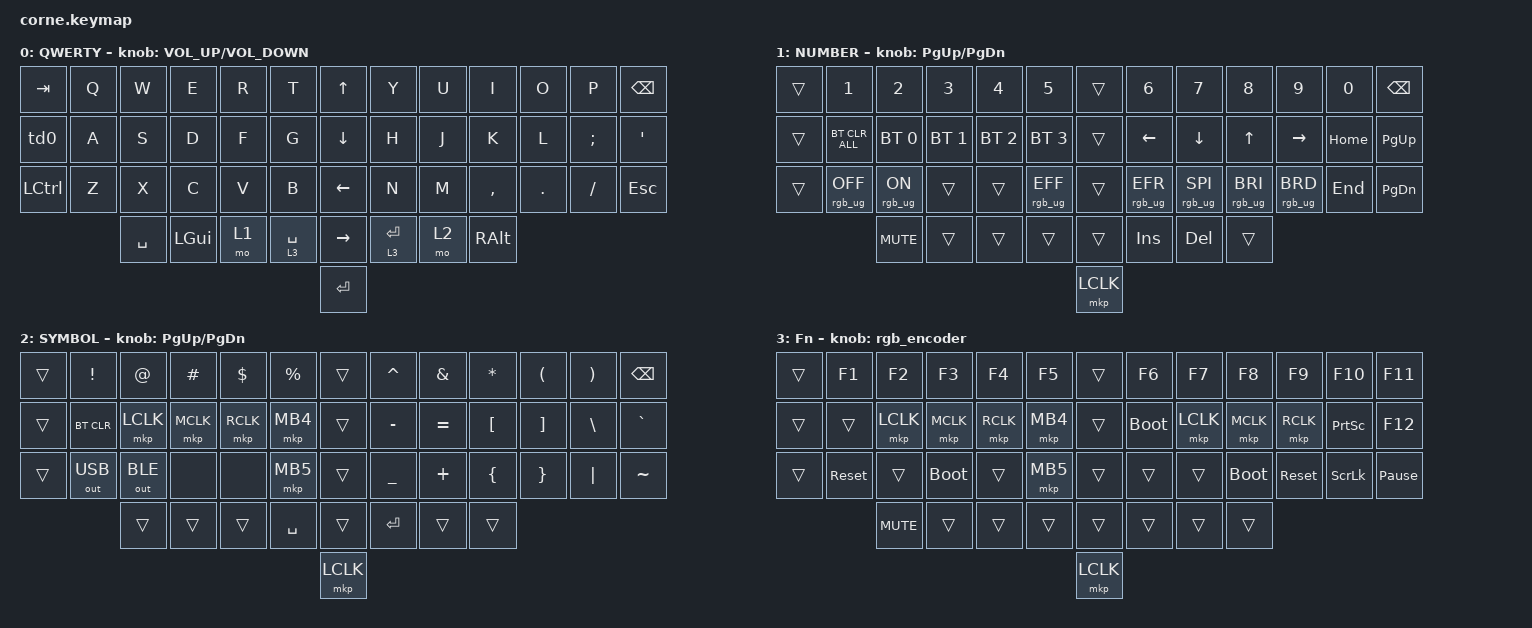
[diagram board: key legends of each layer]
#include <behaviors.dtsi>
#include <dt-bindings/zmk/bt.h>
#include <dt-bindings/zmk/keys.h>
#include <dt-bindings/zmk/mouse.h>
#include <dt-bindings/zmk/outputs.h>
#include <dt-bindings/zmk/rgb.h>

/ {
    behaviors {
        td0: td0 {
            compatible = "zmk,behavior-tap-dance";
            #binding-cells = <0>;
            bindings = <&kp LEFT_SHIFT>, <&kp CAPS>;
        };
    };

    rgb_encoder: rgb_encoder {
        compatible = "zmk,behavior-sensor-rotate";
        #sensor-binding-cells = <0>;
        bindings = <&rgb_ug RGB_BRI>, <&rgb_ug RGB_BRD>;
    };

    keymap {
        compatible = "zmk,keymap";

        default_layer {
            display-name = "QWERTY";

            // --------------------------------------------------------------------------------
            // |  TAB |  Q  |  W  |  E  |  R  |  T  |                ↑    |  Y  |  U   |  I  |  O  |  P  | BKSP |      &kp UP_ARROW 
            // | SHIFT |  A  |  S  |  D  |  F  |  G  |               ↓    |  H  |  J   |  K  |  L  |  ;  |  '   | 
            // | CTRL |  Z  |  X  |  C  |  V  |  B  |                ←    |  N  |  M   |  ,  |  .  |  /  | ESC  |
            //                    | GUI | LWR | SPC |                →    | ENT | RSE  | ALT |
            //                                                      enter

            bindings = <
&kp TAB    &kp Q  &kp W      &kp E     &kp R  &kp T          &kp UP_ARROW     &kp Y        &kp U  &kp I      &kp O    &kp P     &kp BSPC
&td0       &kp A  &kp S      &kp D     &kp F  &kp G          &kp DOWN_ARROW   &kp H        &kp J  &kp K      &kp L    &kp SEMI  &kp SQT
&kp LCTRL  &kp Z  &kp X      &kp C     &kp V  &kp B          &kp LEFT_ARROW   &kp N        &kp M  &kp COMMA  &kp DOT  &kp FSLH  &kp ESC
                  &kp SPACE  &kp LGUI  &mo 1  &lt 3 SPACE    &kp RIGHT_ARROW  &lt 3 ENTER  &mo 2  &kp RALT
                                                             &kp ENTER
            >;

            sensor-bindings = <&inc_dec_kp C_VOLUME_UP C_VOLUME_DOWN>;
        };

        lower_layer {
            display-name = "NUMBER";

            // -----------------------------------------------------------------------------------------
            // |  TAB |  1  |  2  |  3  |  4  |  5  |   |  6  |  7  |  8  |  9  |  0  | BKSP |
            // | BTCLR| BT1 | BT2 | BT3 | BT4 | BT5 |   | LFT | DWN |  UP | RGT |     |      |
            // | SHFT |     |     |     |     |     |   |     |     |     |     |     |      |
            //                    | GUI |     | SPC |   | ENT |     | ALT |

            bindings = <
&trans  &kp N1           &kp N2          &kp N3        &kp N4        &kp N5             &trans     &kp N6           &kp N7           &kp N8           &kp N9           &kp N0    &kp BSPC
&trans  &bt BT_CLR_ALL   &bt BT_SEL 0    &bt BT_SEL 1  &bt BT_SEL 2  &bt BT_SEL 3       &trans     &kp LEFT         &kp DOWN         &kp UP           &kp RIGHT        &kp HOME  &kp PG_UP
&trans  &rgb_ug RGB_OFF  &rgb_ug RGB_ON  &trans        &trans        &rgb_ug RGB_EFF    &trans     &rgb_ug RGB_EFR  &rgb_ug RGB_SPI  &rgb_ug RGB_BRI  &rgb_ug RGB_BRD  &kp END   &kp PG_DN
                         &kp C_MUTE      &trans        &trans        &trans             &trans     &kp INS          &kp DEL          &trans
                                                                                        &mkp LCLK
            >;

            sensor-bindings = <&inc_dec_kp PG_UP PG_DN>;
        };

        raise_layer {
            display-name = "SYMBOL";

            // -----------------------------------------------------------------------------------------
            // |  TAB |  !  |  @  |  #  |  $  |  %  |   |  ^  |  &  |  *  |  (  |  )  | BKSP |
            // | CTRL |     |     |     |     |     |   |  -  |  =  |  [  |  ]  |  \  |  `   |
            // | SHFT |     |     |     |     |     |   |  _  |  +  |  {  |  }  | "|" |  ~   |
            //                    | GUI |     | SPC |   | ENT |     | ALT |

            bindings = <
&trans  &kp EXCL      &kp AT        &kp HASH   &kp DLLR   &kp PRCNT    &trans     &kp CARET  &kp AMPS   &kp ASTRK  &kp LPAR  &kp RPAR  &kp BSPC
&trans  &bt BT_CLR    &mkp LCLK     &mkp MCLK  &mkp RCLK  &mkp MB4     &trans     &kp MINUS  &kp EQUAL  &kp LBKT   &kp RBKT  &kp BSLH  &kp GRAVE
&trans  &out OUT_USB  &out OUT_BLE  &none      &none      &mkp MB5     &trans     &kp UNDER  &kp PLUS   &kp LBRC   &kp RBRC  &kp PIPE  &kp TILDE
                      &trans        &trans     &trans     &kp SPACE    &trans     &kp RET    &trans     &trans
                                                                       &mkp LCLK
            >;

            sensor-bindings = <&inc_dec_kp PG_UP PG_DN>;
        };

        layer_3 {
            display-name = "Fn";
            bindings = <
&trans  &kp F1      &kp F2      &kp F3       &kp F4     &kp F5      &trans     &kp F6       &kp F7     &kp F8       &kp F9      &kp F10          &kp F11
&trans  &trans      &mkp LCLK   &mkp MCLK    &mkp RCLK  &mkp MB4    &trans     &bootloader  &mkp LCLK  &mkp MCLK    &mkp RCLK   &kp PRINTSCREEN  &kp F12
&trans  &sys_reset  &trans      &bootloader  &trans     &mkp MB5    &trans     &trans       &trans     &bootloader  &sys_reset  &kp SCROLLLOCK   &kp PAUSE_BREAK
                    &kp C_MUTE  &trans       &trans     &trans      &trans     &trans       &trans     &trans
                                                                    &mkp LCLK
            >;

            sensor-bindings = <&rgb_encoder>;
        };
    };
};
